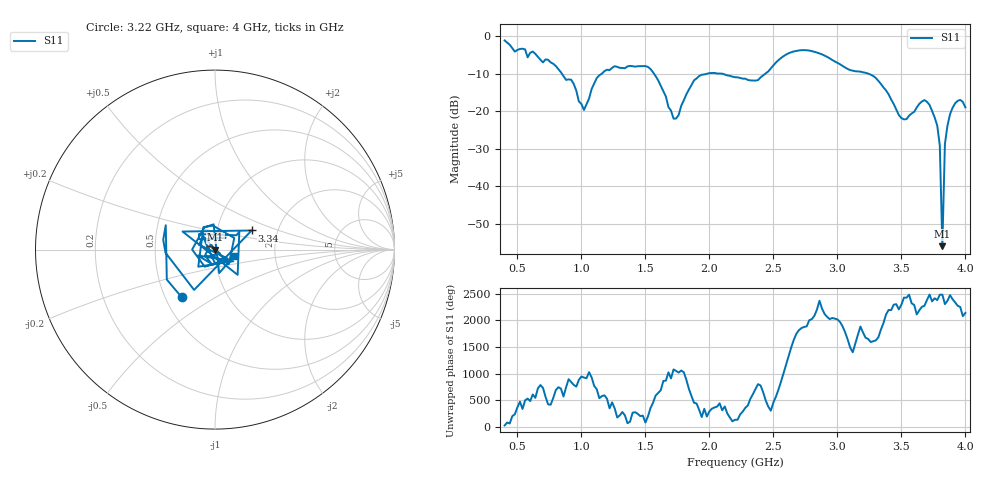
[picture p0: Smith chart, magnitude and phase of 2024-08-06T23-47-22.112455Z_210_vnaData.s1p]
!Created with skrf (http://scikit-rf.org).
# Hz S RI R 50.0
!freq ReS11 ImS11
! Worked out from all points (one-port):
!   181 points, 400 MHz to 4 GHz, reference 50 ohm
!   lowest |S11| = -55.9 dB at 3.82 GHz (marker M1), VSWR 1.00, Z = 50.1 - j0.0891 ohm
!   |S11| at or under -10 dB: 1.566 GHz to 1.988 GHz (421.7 MHz wide, 23.7 % of centre); 2.078 GHz to 2.44 GHz (362 MHz wide, 16 % of centre); 3.24 GHz to end of sweep (the widest 3 of 4)
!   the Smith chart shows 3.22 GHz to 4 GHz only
!   S11 on the Smith chart (normalised r, x): 3.22 GHz: 0.61, -0.36; 3.34 GHz: 1.47, +0.33; 4 GHz: 1.23, -0.09
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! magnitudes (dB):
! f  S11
! 400 MHz  -1.2
! 740 MHz  -6.3
! 860 MHz  -10.7
! 940 MHz  -12.8
! 1.02 GHz  -19.7
! 1.12 GHz  -11.2
! 1.3 GHz  -8.5
! 1.52 GHz  -8.2
! 1.6 GHz  -11.8
! 1.72 GHz  -22.0
! 1.76 GHz  -21.0
! 1.92 GHz  -10.6
! 2.2 GHz  -11.0
! 2.38 GHz  -11.7
! 2.66 GHz  -4.1
! 3.1 GHz  -9.1
! 3.22 GHz  -9.8
! 3.34 GHz  -12.8
! 3.5 GHz  -21.8
! 3.56 GHz  -21.2
! 3.68 GHz  -17.0
! 3.78 GHz  -23.8
! 3.8 GHz  -29.1
! 3.82 GHz  -55.9
! 3.84 GHz  -28.7
! 3.86 GHz  -23.8
! 3.92 GHz  -17.9
! 4 GHz  -19.0
